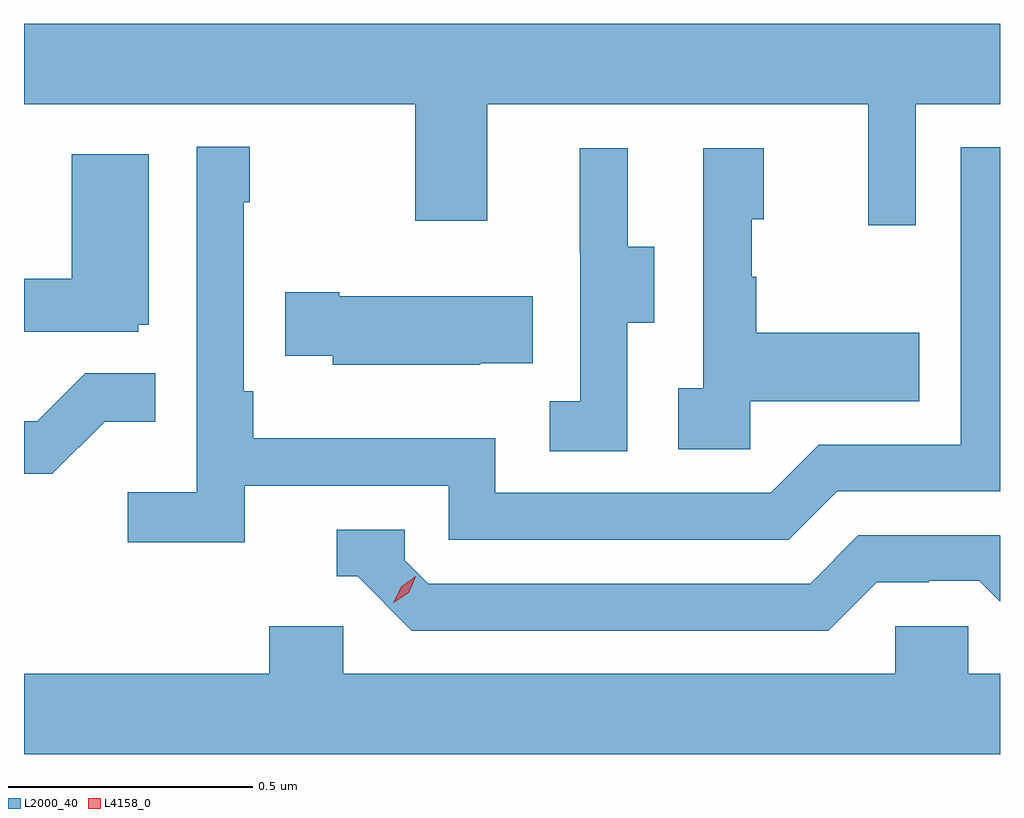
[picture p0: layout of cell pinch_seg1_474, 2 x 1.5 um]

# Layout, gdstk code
import gdstk
lib = gdstk.Library(unit=1e-6, precision=1e-09)
def P(c, l, *ps):  # polygons
    for p in ps: c.add(gdstk.Polygon(p, *l))
L2000_40 = (2000, 40)
L4158_0 = (4158, 0)

pinch_seg1_474 = lib.new_cell('pinch_seg1_474')
P(pinch_seg1_474, L2000_40, [(966.495,513.104),(966.668,513.104),(966.668,513.268),(964.668,513.268),(964.668,513.104),(965.47,513.104),(965.47,512.865),(965.617,512.865),(965.617,513.104),(966.398,513.104),(966.398,512.856),(966.495,512.856)],
  [(965.12,512.322),(965.538,512.322),(965.538,512.211),(966.235,512.211),(966.334,512.31),(966.668,512.31),(966.668,513.015),(966.588,513.015),(966.588,512.406),(966.297,512.406),(966.198,512.307),(965.634,512.307),(965.634,512.419),(965.138,512.419),(965.138,512.515),(965.118,512.515),(965.118,512.903),(965.131,512.903),(965.131,513.016),(965.022,513.016),(965.022,512.308),(964.881,512.308),(964.881,512.206),(965.12,512.206)],
  [(965.904,512.656),(965.959,512.656),(965.959,512.811),(965.905,512.811),(965.905,513.013),(965.807,513.013),(965.807,512.799),(965.808,512.799),(965.808,512.495),(965.745,512.495),(965.745,512.392),(965.904,512.392)],
  [(966.156,512.495),(966.503,512.495),(966.503,512.635),(966.169,512.635),(966.169,512.75),(966.159,512.75),(966.159,512.868),(966.184,512.868),(966.184,513.013),(966.06,513.013),(966.06,512.522),(966.009,512.522),(966.009,512.397),(966.156,512.397)],
  [(964.902,512.652),(964.924,512.652),(964.924,513.001),(964.766,513.001),(964.766,512.746),(964.668,512.746),(964.668,512.637),(964.902,512.637)],
  [(965.603,512.573),(965.711,512.573),(965.711,512.71),(965.314,512.71),(965.314,512.718),(965.203,512.718),(965.203,512.588),(965.301,512.588),(965.301,512.57),(965.603,512.57)],
  [(964.833,512.453),(964.937,512.453),(964.937,512.552),(964.793,512.552),(964.695,512.454),(964.668,512.454),(964.668,512.346),(964.726,512.346)],
  [(966.415,512.124),(966.522,512.124),(966.522,512.127),(966.625,512.127),(966.667,512.085),(966.668,512.085),(966.668,512.219),(966.667,512.22),(966.378,512.22),(966.279,512.121),(965.496,512.121),(965.448,512.169),(965.448,512.232),(965.309,512.232),(965.309,512.136),(965.352,512.136),(965.463,512.025),(966.316,512.025)],
  [(966.668,511.936),(966.603,511.936),(966.603,512.034),(966.453,512.034),(966.453,511.936),(965.322,511.936),(965.322,512.034),(965.171,512.034),(965.171,511.936),(964.668,511.936),(964.668,511.772),(966.668,511.772)])
P(pinch_seg1_474, L4158_0, [(965.426,512.082),(965.426,512.083),(965.441,512.115),(965.471,512.136),(965.471,512.136),(965.471,512.135),(965.456,512.102),(965.426,512.082)])

lib.write_gds('pinch_seg1_474.gds')
